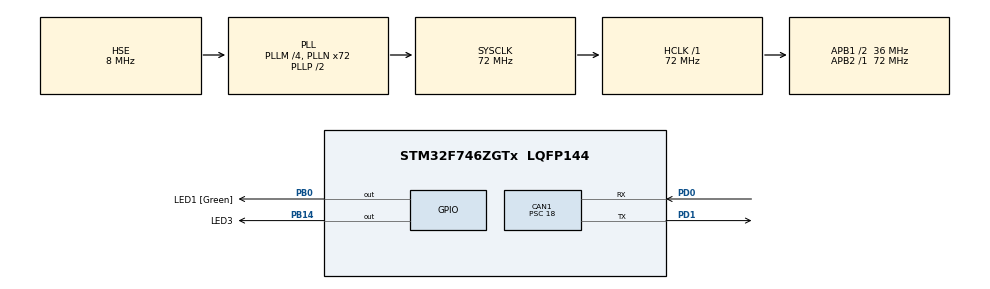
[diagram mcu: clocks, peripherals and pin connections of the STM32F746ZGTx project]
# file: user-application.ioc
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CAN1.BS1=CAN_BS1_13TQ
CAN1.BS2=CAN_BS2_2TQ
CAN1.CalculateBaudRate=125000
CAN1.CalculateTimeBit=8000
CAN1.CalculateTimeQuantum=500.0
CAN1.NART=ENABLE
CAN1.Prescaler=18
CORTEX_M7.default_mode_Activation=1
Mcu.Family=STM32F7
Mcu.Name=STM32F746ZGTx
Mcu.Package=LQFP144
NVIC.CAN1_RX0_IRQn=true\:0\:0\:false\:false\:true\:true\:true\:true
NVIC.CAN1_TX_IRQn=true\:0\:0\:false\:false\:true\:true\:true\:true
NVIC.PriorityGroup=NVIC_PRIORITYGROUP_4
PA13.GPIO_Label=TMS
PA13.Mode=Serial_Wire
PA13.Signal=SYS_JTMS-SWDIO
PA14.GPIO_Label=TCK
PA14.Mode=Serial_Wire
PA14.Signal=SYS_JTCK-SWCLK
PB0.GPIO_Label=LED1 [Green]
PB0.Signal=GPIO_Output
PB14.GPIO_Label=LED3
PB14.Signal=GPIO_Output
PD0.Mode=CAN_Activate
PD0.Signal=CAN1_RX
PD1.Mode=CAN_Activate
PD1.Signal=CAN1_TX
PH0/OSC_IN.GPIO_Label=MCO [STM32F103CBT6_PA8]
PH0/OSC_IN.Mode=HSE-External-Clock-Source
PH0/OSC_IN.Signal=RCC_OSC_IN
PH1/OSC_OUT.Mode=HSE-External-Clock-Source
PH1/OSC_OUT.Signal=RCC_OSC_OUT
ProjectManager.HeapSize=0x200
ProjectManager.StackSize=0x400
ProjectManager.TargetToolchain=CMake
RCC.48MHZClocksFreq_Value=24000000
RCC.AHBFreq_Value=72000000
RCC.APB1CLKDivider=RCC_HCLK_DIV2
RCC.APB1Freq_Value=36000000
RCC.APB1TimFreq_Value=72000000
RCC.APB2Freq_Value=72000000
RCC.APB2TimFreq_Value=72000000
RCC.CortexFreq_Value=72000000
RCC.HCLKFreq_Value=72000000
RCC.HSE_VALUE=8000000
RCC.HSI_VALUE=16000000
RCC.LSE_VALUE=32768
RCC.PLLM=4
RCC.PLLMUL=RCC_PLL_MUL9
RCC.PLLN=72
RCC.PLLQ=3
RCC.PLLSourceVirtual=RCC_PLLSOURCE_HSE
RCC.PRESCALERUSB=RCC_USBCLKSOURCE_PLL_DIV1_5
RCC.SYSCLKFreq_VALUE=72000000
RCC.SYSCLKSource=RCC_SYSCLKSOURCE_PLLCLK
RCC.SYSCLKSourceVirtual=RCC_SYSCLKSOURCE_PLLCLK
RCC.USBFreq_Value=48000000
RCC.VCOOutputFreq_Value=144000000
board=NUCLEO-F746ZG

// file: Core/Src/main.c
/* USER CODE BEGIN Header */
/**
  ******************************************************************************
  * @file           : main.c
  * @brief          : Main program body
  ******************************************************************************
  * @attention
  *
  * Copyright (c) 2026 STMicroelectronics.
  * All rights reserved.
  *
  * This software is licensed under terms that can be found in the LICENSE file
  * in the root directory of this software component.
  * If no LICENSE file comes with this software, it is provided AS-IS.
  *
  ******************************************************************************
  */
/* USER CODE END Header */
#include "main.h"

/* USER CODE BEGIN PD */
// ID of CAN control frame, has to be manually defined
#define CAN_FRAME_BOOTLOADER_CTRL_ID ...
#define BOOTLOADER_COMMAND_START 0
#define BOOTLOADER_ADDR 0x08000000
/* USER CODE END PD */

CAN_HandleTypeDef hcan1;
static volatile uint8_t bootloader_flag = 0;

// Artificially increase final Flash size, adjust size as needed
const uint8_t test_data[243311]
    __attribute__((used, section(".flash_padding"))) = { 0xAA };

void SystemClock_Config(void);
static void MPU_Config(void);
static void MX_GPIO_Init(void);
static void MX_CAN1_Init(void);

/* USER CODE BEGIN 0 */
void jump_to_bootloader(void)
{
  // Start of Flash memory
  uint32_t target = 0x08000000;

  // Disable interrupts for critical section
  __disable_irq();

  // Deinitialize all HAL peripherals and stop SysTick
  HAL_DeInit();

  // Reset SysTick
  SysTick->CTRL = 0;
  SysTick->LOAD = 0;
  SysTick->VAL = 0;

  // Set vector table to the one used by bootloader
  SCB->VTOR = target;

  // Set stack pointer to the one used by bootloader
  volatile uint32_t newStackPtr;
  newStackPtr = *(volatile uint32_t*)(target);

  __set_MSP(newStackPtr);

  // Prepare „fake” function to jump to bootloader
  volatile uint32_t codeAddress;
  codeAddress = *(volatile uint32_t*)(target + 4);

  void (*app_entry)(void) = (void*)codeAddress;

  // Enable interrupts before the jump
  __enable_irq();

  // Barrier for memory instructions right before the jump
  __DSB();

  // Bootloader starts here
  app_entry();
}

void HAL_CAN_RxFifo0MsgPendingCallback(CAN_HandleTypeDef *hcan)
{
  CAN_RxHeaderTypeDef rxHeader;
  uint8_t data[8];

  HAL_CAN_GetRxMessage(hcan, CAN_RX_FIFO0, &rxHeader, data);

  if (rxHeader.StdId != CAN_FRAME_BOOTLOADER_CTRL_ID) {
    return;
  }

  if (rxHeader.DLC != 1) {
    return;
  }

  if (data[0] != BOOTLOADER_COMMAND_START) {
    return;
  }

  bootloader_flag = 1;
}

/* USER CODE END 0 */

int main(void)
{

  /* MPU Configuration--------------------------------------------------------*/
  MPU_Config();

  /* MCU Configuration--------------------------------------------------------*/

  /* Reset of all peripherals, Initializes the Flash interface and the Systick. */
  HAL_Init();

  /* Configure the system clock */
  SystemClock_Config();

  /* Initialize all configured peripherals */
  MX_GPIO_Init();
  MX_CAN1_Init();
  /* USER CODE BEGIN 2 */
  HAL_CAN_Start(&hcan1);
  /* USER CODE END 2 */

  /* Infinite loop */
  /* USER CODE BEGIN WHILE */
  while (1)
  {
    if (bootloader_flag) {
      jump_to_bootloader();
    }

    HAL_GPIO_TogglePin(LED3_GPIO_Port, LED3_Pin);
    HAL_GPIO_TogglePin(LED1_GPIO_Port, LED1_Pin);
    HAL_Delay(1000);
    /* USER CODE END WHILE */

  }
}

void SystemClock_Config(void)
{
  RCC_OscInitTypeDef RCC_OscInitStruct = {0};
  RCC_ClkInitTypeDef RCC_ClkInitStruct = {0};

  /** Configure the main internal regulator output voltage
  */
  __HAL_RCC_PWR_CLK_ENABLE();
  __HAL_PWR_VOLTAGESCALING_CONFIG(PWR_REGULATOR_VOLTAGE_SCALE3);

  /** Initializes the RCC Oscillators according to the specified parameters
  * in the RCC_OscInitTypeDef structure.
  */
  RCC_OscInitStruct.OscillatorType = RCC_OSCILLATORTYPE_HSE;
  RCC_OscInitStruct.HSEState = RCC_HSE_BYPASS;
  RCC_OscInitStruct.PLL.PLLState = RCC_PLL_ON;
  RCC_OscInitStruct.PLL.PLLSource = RCC_PLLSOURCE_HSE;
  RCC_OscInitStruct.PLL.PLLM = 4;
  RCC_OscInitStruct.PLL.PLLN = 72;
  RCC_OscInitStruct.PLL.PLLP = RCC_PLLP_DIV2;
  RCC_OscInitStruct.PLL.PLLQ = 3;
  if (HAL_RCC_OscConfig(&RCC_OscInitStruct) != HAL_OK)
  {
    Error_Handler();
  }

  /** Initializes the CPU, AHB and APB buses clocks
  */
  RCC_ClkInitStruct.ClockType = RCC_CLOCKTYPE_HCLK|RCC_CLOCKTYPE_SYSCLK
                              |RCC_CLOCKTYPE_PCLK1|RCC_CLOCKTYPE_PCLK2;
  RCC_ClkInitStruct.SYSCLKSource = RCC_SYSCLKSOURCE_PLLCLK;
  RCC_ClkInitStruct.AHBCLKDivider = RCC_SYSCLK_DIV1;
  RCC_ClkInitStruct.APB1CLKDivider = RCC_HCLK_DIV2;
  RCC_ClkInitStruct.APB2CLKDivider = RCC_HCLK_DIV1;

  if (HAL_RCC_ClockConfig(&RCC_ClkInitStruct, FLASH_LATENCY_2) != HAL_OK)
  {
    Error_Handler();
  }
}

static void MX_CAN1_Init(void)
{

  hcan1.Instance = CAN1;
  hcan1.Init.Prescaler = 18;
  hcan1.Init.Mode = CAN_MODE_NORMAL;
  hcan1.Init.SyncJumpWidth = CAN_SJW_1TQ;
  hcan1.Init.TimeSeg1 = CAN_BS1_13TQ;
  hcan1.Init.TimeSeg2 = CAN_BS2_2TQ;
  hcan1.Init.TimeTriggeredMode = DISABLE;
  hcan1.Init.AutoBusOff = DISABLE;
  hcan1.Init.AutoWakeUp = DISABLE;
  hcan1.Init.AutoRetransmission = ENABLE;
  hcan1.Init.ReceiveFifoLocked = DISABLE;
  hcan1.Init.TransmitFifoPriority = DISABLE;
  if (HAL_CAN_Init(&hcan1) != HAL_OK)
  {
    Error_Handler();
  }
  /* USER CODE BEGIN CAN1_Init 2 */
  CAN_FilterTypeDef filter;

  filter.FilterActivation = ENABLE;
  filter.FilterBank = 0;
  filter.FilterFIFOAssignment = CAN_FILTER_FIFO0;
  filter.FilterIdHigh = 0x0000;
  filter.FilterIdLow = 0x0000;
  filter.FilterMaskIdHigh = 0x0000;
  filter.FilterMaskIdLow = 0x0000;
  filter.FilterMode = CAN_FILTERMODE_IDMASK;
  filter.FilterScale = CAN_FILTERSCALE_32BIT;

  HAL_CAN_ConfigFilter(&hcan1, &filter);
  HAL_CAN_ActivateNotification(&hcan1, CAN_IT_RX_FIFO0_MSG_PENDING);
  /* USER CODE END CAN1_Init 2 */

}

static void MX_GPIO_Init(void)
{
  GPIO_InitTypeDef GPIO_InitStruct = {0};

  /* GPIO Ports Clock Enable */
  __HAL_RCC_GPIOH_CLK_ENABLE();
  __HAL_RCC_GPIOB_CLK_ENABLE();
  __HAL_RCC_GPIOA_CLK_ENABLE();
  __HAL_RCC_GPIOD_CLK_ENABLE();

  /*Configure GPIO pin Output Level */
  HAL_GPIO_WritePin(GPIOB, LED1_Pin|LED3_Pin, GPIO_PIN_RESET);

  /*Configure GPIO pins : LED1_Pin LED3_Pin */
  GPIO_InitStruct.Pin = LED1_Pin|LED3_Pin;
  GPIO_InitStruct.Mode = GPIO_MODE_OUTPUT_PP;
  GPIO_InitStruct.Pull = GPIO_NOPULL;
  GPIO_InitStruct.Speed = GPIO_SPEED_FREQ_LOW;
  HAL_GPIO_Init(GPIOB, &GPIO_InitStruct);

}

 /* MPU Configuration */

void MPU_Config(void)
{
  MPU_Region_InitTypeDef MPU_InitStruct = {0};

  /* Disables the MPU */
  HAL_MPU_Disable();

  /** Initializes and configures the Region and the memory to be protected
  */
  MPU_InitStruct.Enable = MPU_REGION_ENABLE;
  MPU_InitStruct.Number = MPU_REGION_NUMBER0;
  MPU_InitStruct.BaseAddress = 0x0;
  MPU_InitStruct.Size = MPU_REGION_SIZE_4GB;
  MPU_InitStruct.SubRegionDisable = 0x87;
  MPU_InitStruct.TypeExtField = MPU_TEX_LEVEL0;
  MPU_InitStruct.AccessPermission = MPU_REGION_NO_ACCESS;
  MPU_InitStruct.DisableExec = MPU_INSTRUCTION_ACCESS_DISABLE;
  MPU_InitStruct.IsShareable = MPU_ACCESS_SHAREABLE;
  MPU_InitStruct.IsCacheable = MPU_ACCESS_NOT_CACHEABLE;
  MPU_InitStruct.IsBufferable = MPU_ACCESS_NOT_BUFFERABLE;

  HAL_MPU_ConfigRegion(&MPU_InitStruct);
  /* Enables the MPU */
  HAL_MPU_Enable(MPU_PRIVILEGED_DEFAULT);

}

void Error_Handler(void)
{
  __disable_irq();
  while (1)
  {
  }
}
